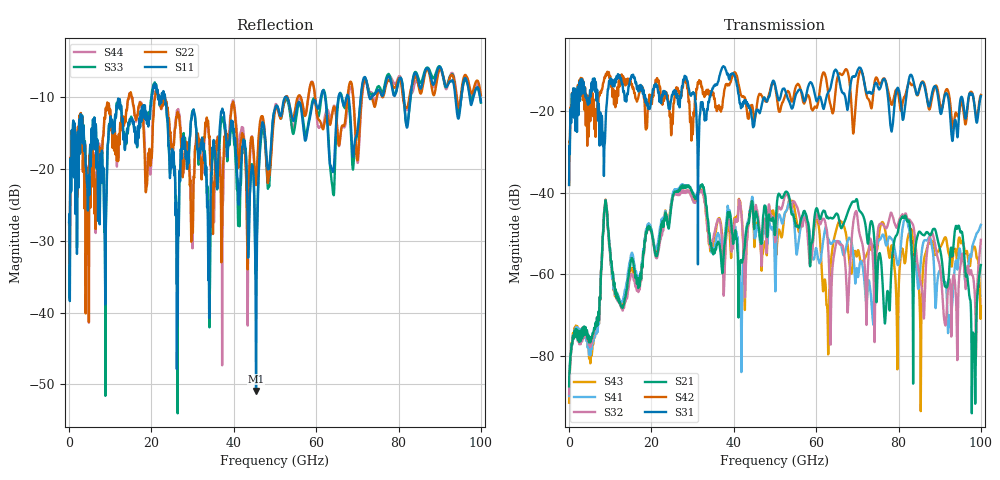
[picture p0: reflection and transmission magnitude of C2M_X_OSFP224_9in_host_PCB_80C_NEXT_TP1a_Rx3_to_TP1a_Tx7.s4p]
# GHz S RI R 45
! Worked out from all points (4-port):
!   4000 points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, 25 MHz to 100 GHz, reference 45 ohm
!   strongest paths, dB at 25 MHz, 25.02 GHz, 50.02 GHz, 75.03 GHz, 100 GHz:
!     S31: -38.1, -15.9, -13.5, -14.1, -16.2
!     S42: -38.0, -22.6, -13.7, -12.5, -15.9
!     S21: -87.6, -42.0, -50.2, -57.2, -57.7
!     S32: -89.4, -42.2, -52.0, -49.0, -51.5
!     S41: -89.9, -41.0, -61.4, -51.9, -47.9
!     S43: -91.6, -41.3, -50.6, -52.4, -67.8
!   lowest |S11| = -50.9 dB at 45.4 GHz (marker M1), VSWR 1.01, Z = 44.8 - j0.118 ohm
!   |S11| at or under -10 dB: start of sweep to 20.07 GHz; 23.32 GHz to 52.42 GHz (29.1 GHz wide, 76.9 % of centre); 52.85 GHz to 61.13 GHz (8.282 GHz wide, 14.5 % of centre) (the widest 3 of 16)
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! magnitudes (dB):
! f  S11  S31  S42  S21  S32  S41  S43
! 25 MHz  -27.3  -38.1  -38.0  -87.6  -89.4  -89.9  -91.6
! 5.55 GHz  -15.2  -13.7  -18.3  -75.6  -76.8  -78.2  -79.6
! 8.85 GHz  -34.5  -23.4  -11.3  -41.9  -41.8  -41.7  -41.7
! 12.95 GHz  -12.9  -13.2  -12.6  -68.3  -68.8  -66.7  -67.2
! 45.4 GHz  -50.9  -20.1  -20.3  -44.6  -43.1  -49.1  -47.8
! 92.38 GHz  -7.8  -19.0  -16.6  -57.9  -61.2  -70.0  -55.6
! 100 GHz  -10.6  -16.2  -15.9  -57.7  -51.5  -47.9  -67.8
